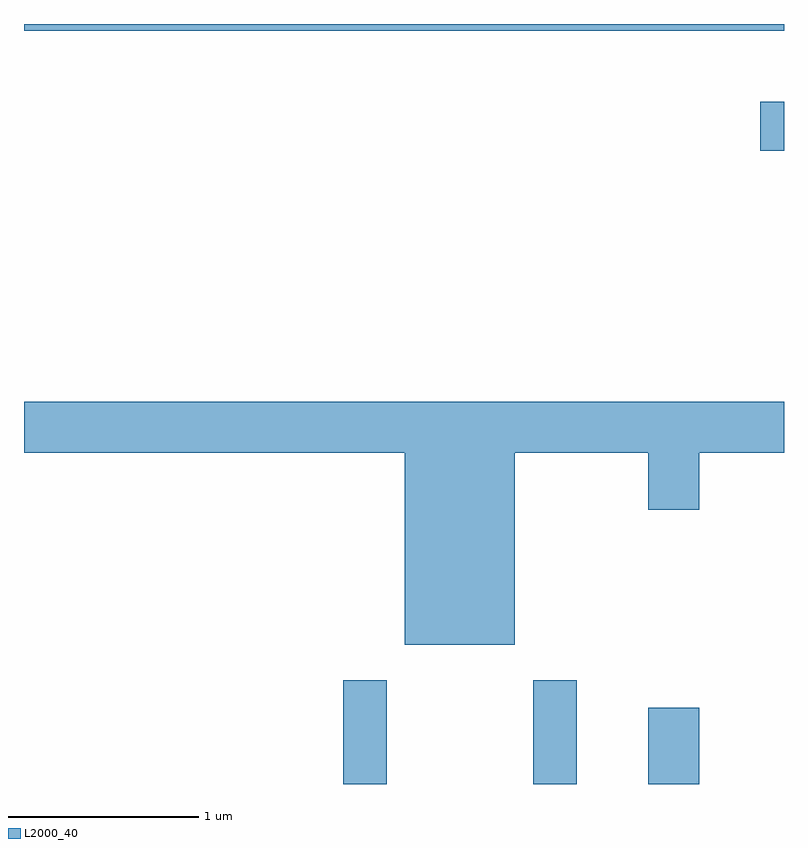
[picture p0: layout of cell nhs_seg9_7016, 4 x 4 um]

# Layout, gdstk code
import gdstk
lib = gdstk.Library(unit=1e-6, precision=1e-09)
def R(c, l, rs):  # rectangles x0, y0, x1, y1
    for r in rs: c.add(gdstk.rectangle(r[:2], r[2:], *l))
def P(c, l, *ps):  # polygons
    for p in ps: c.add(gdstk.Polygon(p, *l))
L2000_40 = (2000, 40)

nhs_seg9_7016 = lib.new_cell('nhs_seg9_7016')
R(nhs_seg9_7016, L2000_40, [(393.291,2074.432,393.519,2074.979), (394.291,2074.432,394.519,2074.979), (394.896,2074.432,395.164,2074.834), (395.486,2077.766,395.611,2078.024), (391.611,2078.396,395.611,2078.432)])
P(nhs_seg9_7016, L2000_40, [(394.194,2076.176),(394.896,2076.176),(394.896,2075.876),(395.164,2075.876),(395.164,2076.176),(395.611,2076.176),(395.611,2076.444),(391.611,2076.444),(391.611,2076.176),(393.616,2076.176),(393.616,2075.166),(394.194,2075.166)])

lib.write_gds('nhs_seg9_7016.gds')
